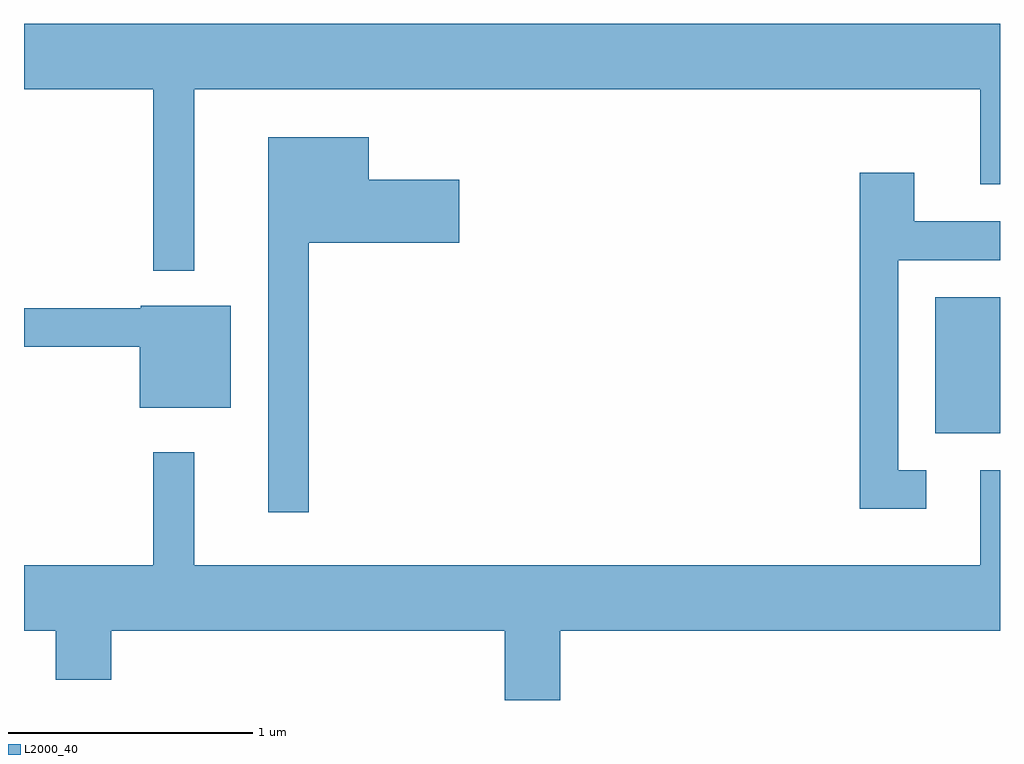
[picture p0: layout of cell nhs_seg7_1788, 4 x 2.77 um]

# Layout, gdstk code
import gdstk
lib = gdstk.Library(unit=1e-6, precision=1e-09)
def R(c, l, rs):  # rectangles x0, y0, x1, y1
    for r in rs: c.add(gdstk.rectangle(r[:2], r[2:], *l))
def P(c, l, *ps):  # polygons
    for p in ps: c.add(gdstk.Polygon(p, *l))
L2000_40 = (2000, 40)

nhs_seg7_1788 = lib.new_cell('nhs_seg7_1788')
R(nhs_seg7_1788, L2000_40, [(243.346,1717.346,243.611,1717.904)])
P(nhs_seg7_1788, L2000_40, [(240.309,1718.756),(243.531,1718.756),(243.531,1718.366),(243.611,1718.366),(243.611,1719.024),(239.611,1719.024),(239.611,1718.756),(240.141,1718.756),(240.141,1718.013),(240.309,1718.013)],
  [(240.779,1718.126),(241.394,1718.126),(241.394,1718.384),(241.024,1718.384),(241.024,1718.559),(240.611,1718.559),(240.611,1717.023),(240.779,1717.023)],
  [(243.308,1717.194),(243.194,1717.194),(243.194,1718.056),(243.611,1718.056),(243.611,1718.214),(243.259,1718.214),(243.259,1718.414),(243.036,1718.414),(243.036,1717.036),(243.308,1717.036)],
  [(240.459,1717.869),(240.09,1717.869),(240.09,1717.859),(239.611,1717.859),(239.611,1717.701),(240.086,1717.701),(240.086,1717.451),(240.459,1717.451)],
  [(241.809,1716.536),(243.611,1716.536),(243.611,1717.194),(243.531,1717.194),(243.531,1716.804),(240.309,1716.804),(240.309,1717.268),(240.141,1717.268),(240.141,1716.804),(239.611,1716.804),(239.611,1716.536),(239.741,1716.536),(239.741,1716.336),(239.969,1716.336),(239.969,1716.536),(241.581,1716.536),(241.581,1716.252),(241.809,1716.252)])

lib.write_gds('nhs_seg7_1788.gds')
